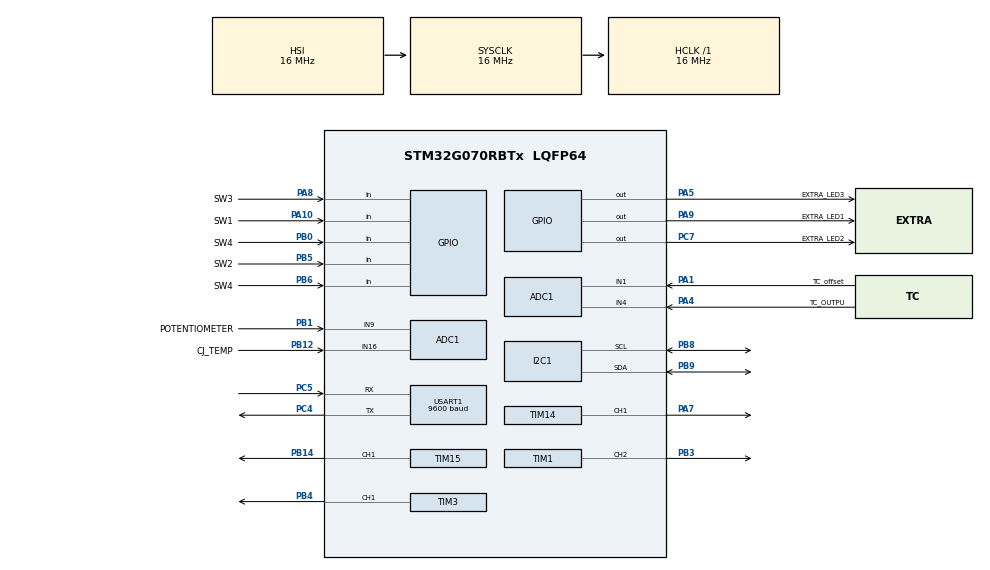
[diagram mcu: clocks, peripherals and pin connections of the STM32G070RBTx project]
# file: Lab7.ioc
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ADC1.DiscontinuousConvMode=ENABLE
ADC1.NbrOfConversion=1
ADC1.NbrOfConversionFlag=0
ADC1.SelectedChannel=ADC_CHANNEL_1|ADC_CHANNEL_4|ADC_CHANNEL_9|ADC_CHANNEL_16
ADC1.Sequencer=NOT_FULLY_CONFIGURABLE
ADC1.master=1
Mcu.Family=STM32G0
Mcu.Name=STM32G070RBTx
Mcu.Package=LQFP64
NVIC.ADC1_IRQn=true\:0\:0\:false\:false\:true\:true\:true
NVIC.USART1_IRQn=true\:0\:0\:false\:false\:true\:true\:true
PA1.GPIO_Label=TC_offset
PA1.Mode=IN1
PA1.Signal=ADC1_IN1
PA10.GPIO_Label=SW1
PA10.Signal=GPIO_Input
PA4.GPIO_Label=TC_OUTPU
PA4.Mode=IN4
PA4.Signal=ADC1_IN4
PA5.GPIO_Label=EXTRA_LED3
PA5.Signal=GPIO_Output
PA7.Signal=S_TIM14_CH1
PA8.GPIO_Label=SW3
PA8.Signal=GPIO_Input
PA9.GPIO_Label=EXTRA_LED1
PA9.Signal=GPIO_Output
PB0.GPIO_Label=SW4
PB0.Signal=GPIO_Input
PB1.GPIO_Label=POTENTIOMETER
PB1.Mode=IN9
PB1.Signal=ADC1_IN9
PB12.GPIO_Label=CJ_TEMP
PB12.Mode=IN16
PB12.Signal=ADC1_IN16
PB14.Signal=S_TIM15_CH1
PB3.Signal=S_TIM1_CH2
PB4.Signal=S_TIM3_CH1
PB5.GPIO_Label=SW2
PB5.Signal=GPIO_Input
PB6.GPIO_Label=SW4
PB6.Signal=GPIO_Input
PB8.Mode=I2C
PB8.Signal=I2C1_SCL
PB9.Mode=I2C
PB9.Signal=I2C1_SDA
PC4.Mode=Asynchronous
PC4.Signal=USART1_TX
PC5.Mode=Asynchronous
PC5.Signal=USART1_RX
PC7.GPIO_Label=EXTRA_LED2
PC7.Signal=GPIO_Output
ProjectManager.HeapSize=0x200
ProjectManager.StackSize=0x400
ProjectManager.TargetToolchain=EWARM V8.32
RCC.AHBFreq_Value=16000000
RCC.CortexFreq_Value=16000000
RCC.EXTERNAL_CLOCK_VALUE=48000
RCC.HCLKFreq_Value=16000000
RCC.HSE_VALUE=8000000
RCC.HSI_VALUE=16000000
RCC.LSE_VALUE=32768
RCC.SYSCLKFreq_VALUE=16000000
RCC.VCOOutputFreq_Value=128000000
SH.S_TIM14_CH1.0=TIM14_CH1,PWM Generation1 CH1
SH.S_TIM15_CH1.0=TIM15_CH1,PWM Generation1 CH1
SH.S_TIM1_CH2.0=TIM1_CH2,PWM Generation2 CH2
SH.S_TIM3_CH1.0=TIM3_CH1,PWM Generation1 CH1
TIM1.Channel-PWM\ Generation2\ CH2=TIM_CHANNEL_2
TIM14.Channel=TIM_CHANNEL_1
TIM15.Channel-PWM\ Generation1\ CH1=TIM_CHANNEL_1
TIM3.Channel-PWM\ Generation1\ CH1=TIM_CHANNEL_1
USART1.BaudRate=9600
USART1.VirtualMode-Asynchronous=VM_ASYNC
VP_SYS_VS_DBSignals.Mode=DisableDeadBatterySignals
VP_TIM14_VS_ClockSourceINT.Mode=Enable_Timer
VP_TIM15_VS_ClockSourceINT.Mode=Internal
VP_TIM1_VS_ClockSourceINT.Mode=Internal
VP_TIM3_VS_ClockSourceINT.Mode=Internal
board=custom

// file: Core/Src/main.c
/* USER CODE BEGIN Header */
/**
  ******************************************************************************
  * @file           : main.c
  * @brief          : Main program body
  ******************************************************************************
  * @attention
  *
  * <h2><center>&copy; Copyright (c) 2021 STMicroelectronics.
  * All rights reserved.</center></h2>
  *
  * This software component is licensed by ST under BSD 3-Clause license,
  * the "License"; You may not use this file except in compliance with the
  * License. You may obtain a copy of the License at:
  *                        opensource.org/licenses/BSD-3-Clause
  *
  ******************************************************************************
  */
/* USER CODE END Header */
#include "main.h"

/* USER CODE BEGIN Includes */
#include "KeyboardHoldRepeat.h"
//#include "waveform_16.h"
#include "serial.h"
#include "serial_user.h"
#include "fonts.h"
#include "ssd1306.h"
#include "ux_manager.h"
#include "thermocouple.h"
#include "thermistor.h"

/* USER CODE END Includes */

ADC_HandleTypeDef hadc1;

I2C_HandleTypeDef hi2c1;

TIM_HandleTypeDef htim1;
TIM_HandleTypeDef htim3;
TIM_HandleTypeDef htim14;
TIM_HandleTypeDef htim15;

UART_HandleTypeDef huart1;

/* USER CODE BEGIN PV */

// scheduler stuff
extern uint8_t ten_mS_Flag;
extern uint8_t twentyfive_mS_Flag;
extern uint8_t hundred_mS_Flag;
extern uint8_t one_S_Flag;

// Button Decoder
uint8_t keyCode = 0x0F;

//ADC Stuff
#define NUMBER_OF_ADC_CHANNELS 4
uint16_t adcResults[NUMBER_OF_ADC_CHANNELS];                                              // The locations for the ADC channels
uint32_t adcChannelNo[NUMBER_OF_ADC_CHANNELS] = {ADC_CHANNEL_9, ADC_CHANNEL_4, ADC_CHANNEL_16, ADC_CHANNEL_1}; // The ADC channel numbers
ADC_ChannelConfTypeDef gAdcConfig = {0};                                                        // The structure for updating the ADC channel number
volatile uint8_t adcChanIndex = 0;                                                                       // State machine variable for reading the ADC (shared with interrupt)

// Thermistor
int16_t thTempInC;

extern DWint16_t Meal_F;

uint32_t timerValue = 0;

//beeper variables
uint8_t beepActive = false;
uint8_t beepDisabled = false;
uint8_t beepTime = 0;

volatile uint16_t adcValue = 0;

uint16_t count2 = 0;

/* USER CODE END PV */

void SystemClock_Config(void);
static void MX_GPIO_Init(void);
static void MX_ADC1_Init(void);
static void MX_TIM1_Init(void);
static void MX_TIM3_Init(void);
static void MX_TIM15_Init(void);
static void MX_I2C1_Init(void);
static void MX_TIM14_Init(void);
static void MX_USART1_UART_Init(void);

int main(void)
{

  /* MCU Configuration--------------------------------------------------------*/

  /* Reset of all peripherals, Initializes the Flash interface and the Systick. */
  HAL_Init();

  /* Configure the system clock */
  SystemClock_Config();

  /* Initialize all configured peripherals */
  MX_GPIO_Init();
  MX_ADC1_Init();
  MX_TIM1_Init();
  MX_TIM3_Init();
  MX_TIM15_Init();
  MX_I2C1_Init();
  MX_TIM14_Init();
  MX_USART1_UART_Init();
  /* USER CODE BEGIN 2 */
  SSD1306_Init();  // initialise
  SSD1306_Clear();
  SwitchScreens(STARTUP_SCREEN);

  HAL_Delay(5000);

  //  Set Up ADC
  gAdcConfig.Channel = ADC_CHANNEL_9;
  gAdcConfig.Rank = ADC_REGULAR_RANK_1;
  gAdcConfig.SamplingTime = ADC_SAMPLINGTIME_COMMON_1;

  SwitchScreens(MAIN);

  HAL_SYSCFG_StrobeDBattpinsConfig(SYSCFG_UCPD1_STROBE);
  /* USER CODE END 2 */

  /* Infinite loop */
  /* USER CODE BEGIN WHILE */
  while (1)
  {
    //---------------------------------
    // 10mS Tasks
    if (ten_mS_Flag) {
      ten_mS_Flag = false;
      keyCode = ScanKeyboard();
      DebounceKeyCode(keyCode);
      if (processKeyCode == true) {
        //ProcessKeyCode(keyCode);
        processKeyCode = false;
        ProcessKeyCodeInContext(keyCode);

      }

    }  // end of 10mS Tasks
    //---------------------------------

    //---------------------------------
    // 25mS Tasks
    if (twentyfive_mS_Flag) {
      twentyfive_mS_Flag = false;

      if (adcChanIndex >= NUMBER_OF_ADC_CHANNELS)
        adcChanIndex = 0;                         // Note, this is incremented in the interrupt after conversion so it is
                                                  // to the correct index when the interrupt fires...
                                                  // Channels: CH1 - CJ; CH4 - TC
      gAdcConfig.Channel = adcChannelNo[adcChanIndex];
      HAL_ADC_ConfigChannel(&hadc1, &gAdcConfig);
      HAL_ADC_Start_IT(&hadc1);

    }  // end of 25mS Tasks
    //---------------------------------

    //---------------------------------
    // 100mS Tasks
    if (hundred_mS_Flag) {
      hundred_mS_Flag = false;

      Meal_F.data = C2F(Calculate_Temp_inC(adcResults[0]), ISNT_IN_TENTHS);

      //Update Screen every 100mS
      UpdateScreenValues();

      if (beepActive) {
          if (++beepTime == 5) {
            HAL_TIM_PWM_Start(&htim14, TIM_CHANNEL_1);
          }
          else if (beepTime >= 10) {
            HAL_TIM_PWM_Stop(&htim14, TIM_CHANNEL_1);
            beepTime = 0;
            if (beepDisabled) {
              beepActive = false;
              beepDisabled = false;
            }
          }
        }
    }  // end of 100mS Tasks
    //---------------------------------

    //---------------------------------
    // 1 Sec Tasks
    if (one_S_Flag) {
      one_S_Flag = false;

    } // end of 1Sec Tasks
    //---------------------------------

    //---------------------------------
    // Every time through the loop

    // end Every time through the loop
    //---------------------------------

    /* USER CODE END WHILE */

  }
}

void SystemClock_Config(void)
{
  RCC_OscInitTypeDef RCC_OscInitStruct = {0};
  RCC_ClkInitTypeDef RCC_ClkInitStruct = {0};
  RCC_PeriphCLKInitTypeDef PeriphClkInit = {0};

  /** Configure the main internal regulator output voltage
  */
  HAL_PWREx_ControlVoltageScaling(PWR_REGULATOR_VOLTAGE_SCALE1);
  /** Initializes the RCC Oscillators according to the specified parameters
  * in the RCC_OscInitTypeDef structure.
  */
  RCC_OscInitStruct.OscillatorType = RCC_OSCILLATORTYPE_HSI;
  RCC_OscInitStruct.HSIState = RCC_HSI_ON;
  RCC_OscInitStruct.HSIDiv = RCC_HSI_DIV1;
  RCC_OscInitStruct.HSICalibrationValue = RCC_HSICALIBRATION_DEFAULT;
  RCC_OscInitStruct.PLL.PLLState = RCC_PLL_NONE;
  if (HAL_RCC_OscConfig(&RCC_OscInitStruct) != HAL_OK)
  {
    Error_Handler();
  }
  /** Initializes the CPU, AHB and APB buses clocks
  */
  RCC_ClkInitStruct.ClockType = RCC_CLOCKTYPE_HCLK|RCC_CLOCKTYPE_SYSCLK
                              |RCC_CLOCKTYPE_PCLK1;
  RCC_ClkInitStruct.SYSCLKSource = RCC_SYSCLKSOURCE_HSI;
  RCC_ClkInitStruct.AHBCLKDivider = RCC_SYSCLK_DIV1;
  RCC_ClkInitStruct.APB1CLKDivider = RCC_HCLK_DIV1;

  if (HAL_RCC_ClockConfig(&RCC_ClkInitStruct, FLASH_LATENCY_0) != HAL_OK)
  {
    Error_Handler();
  }
  /** Initializes the peripherals clocks
  */
  PeriphClkInit.PeriphClockSelection = RCC_PERIPHCLK_USART1|RCC_PERIPHCLK_I2C1
                              |RCC_PERIPHCLK_ADC;
  PeriphClkInit.Usart1ClockSelection = RCC_USART1CLKSOURCE_PCLK1;
  PeriphClkInit.I2c1ClockSelection = RCC_I2C1CLKSOURCE_PCLK1;
  PeriphClkInit.AdcClockSelection = RCC_ADCCLKSOURCE_SYSCLK;
  if (HAL_RCCEx_PeriphCLKConfig(&PeriphClkInit) != HAL_OK)
  {
    Error_Handler();
  }
}

static void MX_ADC1_Init(void)
{

  ADC_ChannelConfTypeDef sConfig = {0};

  /** Configure the global features of the ADC (Clock, Resolution, Data Alignment and number of conversion)
  */
  hadc1.Instance = ADC1;
  hadc1.Init.ClockPrescaler = ADC_CLOCK_SYNC_PCLK_DIV2;
  hadc1.Init.Resolution = ADC_RESOLUTION_12B;
  hadc1.Init.DataAlign = ADC_DATAALIGN_RIGHT;
  hadc1.Init.ScanConvMode = ADC_SCAN_SEQ_FIXED;
  hadc1.Init.EOCSelection = ADC_EOC_SINGLE_CONV;
  hadc1.Init.LowPowerAutoWait = DISABLE;
  hadc1.Init.LowPowerAutoPowerOff = DISABLE;
  hadc1.Init.ContinuousConvMode = DISABLE;
  hadc1.Init.NbrOfConversion = 1;
  hadc1.Init.DiscontinuousConvMode = ENABLE;
  hadc1.Init.ExternalTrigConv = ADC_SOFTWARE_START;
  hadc1.Init.ExternalTrigConvEdge = ADC_EXTERNALTRIGCONVEDGE_NONE;
  hadc1.Init.DMAContinuousRequests = DISABLE;
  hadc1.Init.Overrun = ADC_OVR_DATA_PRESERVED;
  hadc1.Init.SamplingTimeCommon1 = ADC_SAMPLETIME_1CYCLE_5;
  hadc1.Init.OversamplingMode = DISABLE;
  hadc1.Init.TriggerFrequencyMode = ADC_TRIGGER_FREQ_HIGH;
  if (HAL_ADC_Init(&hadc1) != HAL_OK)
  {
    Error_Handler();
  }
  /** Configure Regular Channel
  */
  sConfig.Channel = ADC_CHANNEL_1;
  sConfig.Rank = ADC_RANK_CHANNEL_NUMBER;
  if (HAL_ADC_ConfigChannel(&hadc1, &sConfig) != HAL_OK)
  {
    Error_Handler();
  }
  /** Configure Regular Channel
  */
  sConfig.Channel = ADC_CHANNEL_4;
  if (HAL_ADC_ConfigChannel(&hadc1, &sConfig) != HAL_OK)
  {
    Error_Handler();
  }
  /** Configure Regular Channel
  */
  sConfig.Channel = ADC_CHANNEL_9;
  if (HAL_ADC_ConfigChannel(&hadc1, &sConfig) != HAL_OK)
  {
    Error_Handler();
  }
  /** Configure Regular Channel
  */
  sConfig.Channel = ADC_CHANNEL_16;
  if (HAL_ADC_ConfigChannel(&hadc1, &sConfig) != HAL_OK)
  {
    Error_Handler();
  }

}

static void MX_I2C1_Init(void)
{

  hi2c1.Instance = I2C1;
  hi2c1.Init.Timing = 0x00303D5B;
  hi2c1.Init.OwnAddress1 = 0;
  hi2c1.Init.AddressingMode = I2C_ADDRESSINGMODE_7BIT;
  hi2c1.Init.DualAddressMode = I2C_DUALADDRESS_DISABLE;
  hi2c1.Init.OwnAddress2 = 0;
  hi2c1.Init.OwnAddress2Masks = I2C_OA2_NOMASK;
  hi2c1.Init.GeneralCallMode = I2C_GENERALCALL_DISABLE;
  hi2c1.Init.NoStretchMode = I2C_NOSTRETCH_DISABLE;
  if (HAL_I2C_Init(&hi2c1) != HAL_OK)
  {
    Error_Handler();
  }
  /** Configure Analogue filter
  */
  if (HAL_I2CEx_ConfigAnalogFilter(&hi2c1, I2C_ANALOGFILTER_ENABLE) != HAL_OK)
  {
    Error_Handler();
  }
  /** Configure Digital filter
  */
  if (HAL_I2CEx_ConfigDigitalFilter(&hi2c1, 0) != HAL_OK)
  {
    Error_Handler();
  }

}

static void MX_TIM1_Init(void)
{

  TIM_ClockConfigTypeDef sClockSourceConfig = {0};
  TIM_MasterConfigTypeDef sMasterConfig = {0};
  TIM_OC_InitTypeDef sConfigOC = {0};
  TIM_BreakDeadTimeConfigTypeDef sBreakDeadTimeConfig = {0};

  htim1.Instance = TIM1;
  htim1.Init.Prescaler = 0;
  htim1.Init.CounterMode = TIM_COUNTERMODE_UP;
  htim1.Init.Period = 65535;
  htim1.Init.ClockDivision = TIM_CLOCKDIVISION_DIV1;
  htim1.Init.RepetitionCounter = 0;
  htim1.Init.AutoReloadPreload = TIM_AUTORELOAD_PRELOAD_DISABLE;
  if (HAL_TIM_Base_Init(&htim1) != HAL_OK)
  {
    Error_Handler();
  }
  sClockSourceConfig.ClockSource = TIM_CLOCKSOURCE_INTERNAL;
  if (HAL_TIM_ConfigClockSource(&htim1, &sClockSourceConfig) != HAL_OK)
  {
    Error_Handler();
  }
  if (HAL_TIM_PWM_Init(&htim1) != HAL_OK)
  {
    Error_Handler();
  }
  sMasterConfig.MasterOutputTrigger = TIM_TRGO_RESET;
  sMasterConfig.MasterOutputTrigger2 = TIM_TRGO2_RESET;
  sMasterConfig.MasterSlaveMode = TIM_MASTERSLAVEMODE_DISABLE;
  if (HAL_TIMEx_MasterConfigSynchronization(&htim1, &sMasterConfig) != HAL_OK)
  {
    Error_Handler();
  }
  sConfigOC.OCMode = TIM_OCMODE_PWM1;
  sConfigOC.Pulse = 0;
  sConfigOC.OCPolarity = TIM_OCPOLARITY_HIGH;
  sConfigOC.OCNPolarity = TIM_OCNPOLARITY_HIGH;
  sConfigOC.OCFastMode = TIM_OCFAST_DISABLE;
  sConfigOC.OCIdleState = TIM_OCIDLESTATE_RESET;
  sConfigOC.OCNIdleState = TIM_OCNIDLESTATE_RESET;
  if (HAL_TIM_PWM_ConfigChannel(&htim1, &sConfigOC, TIM_CHANNEL_2) != HAL_OK)
  {
    Error_Handler();
  }
  sBreakDeadTimeConfig.OffStateRunMode = TIM_OSSR_DISABLE;
  sBreakDeadTimeConfig.OffStateIDLEMode = TIM_OSSI_DISABLE;
  sBreakDeadTimeConfig.LockLevel = TIM_LOCKLEVEL_OFF;
  sBreakDeadTimeConfig.DeadTime = 0;
  sBreakDeadTimeConfig.BreakState = TIM_BREAK_DISABLE;
  sBreakDeadTimeConfig.BreakPolarity = TIM_BREAKPOLARITY_HIGH;
  sBreakDeadTimeConfig.BreakFilter = 0;
  sBreakDeadTimeConfig.BreakAFMode = TIM_BREAK_AFMODE_INPUT;
  sBreakDeadTimeConfig.Break2State = TIM_BREAK2_DISABLE;
  sBreakDeadTimeConfig.Break2Polarity = TIM_BREAK2POLARITY_HIGH;
  sBreakDeadTimeConfig.Break2Filter = 0;
  sBreakDeadTimeConfig.Break2AFMode = TIM_BREAK_AFMODE_INPUT;
  sBreakDeadTimeConfig.AutomaticOutput = TIM_AUTOMATICOUTPUT_DISABLE;
  if (HAL_TIMEx_ConfigBreakDeadTime(&htim1, &sBreakDeadTimeConfig) != HAL_OK)
  {
    Error_Handler();
  }
  HAL_TIM_MspPostInit(&htim1);

}

static void MX_TIM3_Init(void)
{

  TIM_ClockConfigTypeDef sClockSourceConfig = {0};
  TIM_MasterConfigTypeDef sMasterConfig = {0};
  TIM_OC_InitTypeDef sConfigOC = {0};

  htim3.Instance = TIM3;
  htim3.Init.Prescaler = 0;
  htim3.Init.CounterMode = TIM_COUNTERMODE_UP;
  htim3.Init.Period = 65535;
  htim3.Init.ClockDivision = TIM_CLOCKDIVISION_DIV1;
  htim3.Init.AutoReloadPreload = TIM_AUTORELOAD_PRELOAD_DISABLE;
  if (HAL_TIM_Base_Init(&htim3) != HAL_OK)
  {
    Error_Handler();
  }
  sClockSourceConfig.ClockSource = TIM_CLOCKSOURCE_INTERNAL;
  if (HAL_TIM_ConfigClockSource(&htim3, &sClockSourceConfig) != HAL_OK)
  {
    Error_Handler();
  }
  if (HAL_TIM_PWM_Init(&htim3) != HAL_OK)
  {
    Error_Handler();
  }
  sMasterConfig.MasterOutputTrigger = TIM_TRGO_RESET;
  sMasterConfig.MasterSlaveMode = TIM_MASTERSLAVEMODE_DISABLE;
  if (HAL_TIMEx_MasterConfigSynchronization(&htim3, &sMasterConfig) != HAL_OK)
  {
    Error_Handler();
  }
  sConfigOC.OCMode = TIM_OCMODE_PWM1;
  sConfigOC.Pulse = 0;
  sConfigOC.OCPolarity = TIM_OCPOLARITY_HIGH;
  sConfigOC.OCFastMode = TIM_OCFAST_DISABLE;
  if (HAL_TIM_PWM_ConfigChannel(&htim3, &sConfigOC, TIM_CHANNEL_1) != HAL_OK)
  {
    Error_Handler();
  }
  HAL_TIM_MspPostInit(&htim3);

}

static void MX_TIM14_Init(void)
{

  TIM_OC_InitTypeDef sConfigOC = {0};

  htim14.Instance = TIM14;
  htim14.Init.Prescaler = 0;
  htim14.Init.CounterMode = TIM_COUNTERMODE_UP;
  htim14.Init.Period = 65535;
  htim14.Init.ClockDivision = TIM_CLOCKDIVISION_DIV1;
  htim14.Init.AutoReloadPreload = TIM_AUTORELOAD_PRELOAD_DISABLE;
  if (HAL_TIM_Base_Init(&htim14) != HAL_OK)
  {
    Error_Handler();
  }
  if (HAL_TIM_PWM_Init(&htim14) != HAL_OK)
  {
    Error_Handler();
  }
  sConfigOC.OCMode = TIM_OCMODE_PWM1;
  sConfigOC.Pulse = 0;
  sConfigOC.OCPolarity = TIM_OCPOLARITY_HIGH;
  sConfigOC.OCFastMode = TIM_OCFAST_DISABLE;
  if (HAL_TIM_PWM_ConfigChannel(&htim14, &sConfigOC, TIM_CHANNEL_1) != HAL_OK)
  {
    Error_Handler();
  }
  HAL_TIM_MspPostInit(&htim14);

}

static void MX_TIM15_Init(void)
{

  TIM_ClockConfigTypeDef sClockSourceConfig = {0};
  TIM_MasterConfigTypeDef sMasterConfig = {0};
  TIM_OC_InitTypeDef sConfigOC = {0};
  TIM_BreakDeadTimeConfigTypeDef sBreakDeadTimeConfig = {0};

  htim15.Instance = TIM15;
  htim15.Init.Prescaler = 0;
  htim15.Init.CounterMode = TIM_COUNTERMODE_UP;
  htim15.Init.Period = 65535;
  htim15.Init.ClockDivision = TIM_CLOCKDIVISION_DIV1;
  htim15.Init.RepetitionCounter = 0;
  htim15.Init.AutoReloadPreload = TIM_AUTORELOAD_PRELOAD_DISABLE;
  if (HAL_TIM_Base_Init(&htim15) != HAL_OK)
  {
    Error_Handler();
  }
  sClockSourceConfig.ClockSource = TIM_CLOCKSOURCE_INTERNAL;
  if (HAL_TIM_ConfigClockSource(&htim15, &sClockSourceConfig) != HAL_OK)
  {
    Error_Handler();
  }
  if (HAL_TIM_PWM_Init(&htim15) != HAL_OK)
  {
    Error_Handler();
  }
  sMasterConfig.MasterOutputTrigger = TIM_TRGO_RESET;
  sMasterConfig.MasterSlaveMode = TIM_MASTERSLAVEMODE_DISABLE;
  if (HAL_TIMEx_MasterConfigSynchronization(&htim15, &sMasterConfig) != HAL_OK)
  {
    Error_Handler();
  }
  sConfigOC.OCMode = TIM_OCMODE_PWM1;
  sConfigOC.Pulse = 0;
  sConfigOC.OCPolarity = TIM_OCPOLARITY_HIGH;
  sConfigOC.OCNPolarity = TIM_OCNPOLARITY_HIGH;
  sConfigOC.OCFastMode = TIM_OCFAST_DISABLE;
  sConfigOC.OCIdleState = TIM_OCIDLESTATE_RESET;
  sConfigOC.OCNIdleState = TIM_OCNIDLESTATE_RESET;
  if (HAL_TIM_PWM_ConfigChannel(&htim15, &sConfigOC, TIM_CHANNEL_1) != HAL_OK)
  {
    Error_Handler();
  }
  sBreakDeadTimeConfig.OffStateRunMode = TIM_OSSR_DISABLE;
  sBreakDeadTimeConfig.OffStateIDLEMode = TIM_OSSI_DISABLE;
  sBreakDeadTimeConfig.LockLevel = TIM_LOCKLEVEL_OFF;
  sBreakDeadTimeConfig.DeadTime = 0;
  sBreakDeadTimeConfig.BreakState = TIM_BREAK_DISABLE;
  sBreakDeadTimeConfig.BreakPolarity = TIM_BREAKPOLARITY_HIGH;
  sBreakDeadTimeConfig.BreakFilter = 0;
  sBreakDeadTimeConfig.AutomaticOutput = TIM_AUTOMATICOUTPUT_DISABLE;
  if (HAL_TIMEx_ConfigBreakDeadTime(&htim15, &sBreakDeadTimeConfig) != HAL_OK)
  {
    Error_Handler();
  }
  HAL_TIM_MspPostInit(&htim15);

}

static void MX_USART1_UART_Init(void)
{

  huart1.Instance = USART1;
  huart1.Init.BaudRate = 9600;
  huart1.Init.WordLength = UART_WORDLENGTH_8B;
  huart1.Init.StopBits = UART_STOPBITS_1;
  huart1.Init.Parity = UART_PARITY_NONE;
  huart1.Init.Mode = UART_MODE_TX_RX;
  huart1.Init.HwFlowCtl = UART_HWCONTROL_NONE;
  huart1.Init.OverSampling = UART_OVERSAMPLING_16;
  huart1.Init.OneBitSampling = UART_ONE_BIT_SAMPLE_DISABLE;
  huart1.Init.ClockPrescaler = UART_PRESCALER_DIV1;
  huart1.AdvancedInit.AdvFeatureInit = UART_ADVFEATURE_NO_INIT;
  if (HAL_UART_Init(&huart1) != HAL_OK)
  {
    Error_Handler();
  }
  if (HAL_UARTEx_SetTxFifoThreshold(&huart1, UART_TXFIFO_THRESHOLD_1_8) != HAL_OK)
  {
    Error_Handler();
  }
  if (HAL_UARTEx_SetRxFifoThreshold(&huart1, UART_RXFIFO_THRESHOLD_1_8) != HAL_OK)
  {
    Error_Handler();
  }
  if (HAL_UARTEx_DisableFifoMode(&huart1) != HAL_OK)
  {
    Error_Handler();
  }

}

static void MX_GPIO_Init(void)
{
  GPIO_InitTypeDef GPIO_InitStruct = {0};

  /* GPIO Ports Clock Enable */
  __HAL_RCC_GPIOA_CLK_ENABLE();
  __HAL_RCC_GPIOC_CLK_ENABLE();
  __HAL_RCC_GPIOB_CLK_ENABLE();

  /*Configure GPIO pin Output Level */
  HAL_GPIO_WritePin(GPIOA, EXTRA_LED3_Pin|EXTRA_LED1_Pin, GPIO_PIN_RESET);

  /*Configure GPIO pin Output Level */
  HAL_GPIO_WritePin(EXTRA_LED2_GPIO_Port, EXTRA_LED2_Pin, GPIO_PIN_RESET);

  /*Configure GPIO pins : EXTRA_LED3_Pin EXTRA_LED1_Pin */
  GPIO_InitStruct.Pin = EXTRA_LED3_Pin|EXTRA_LED1_Pin;
  GPIO_InitStruct.Mode = GPIO_MODE_OUTPUT_PP;
  GPIO_InitStruct.Pull = GPIO_NOPULL;
  GPIO_InitStruct.Speed = GPIO_SPEED_FREQ_LOW;
  HAL_GPIO_Init(GPIOA, &GPIO_InitStruct);

  /*Configure GPIO pins : SW4_Pin SW2_Pin SW4B6_Pin */
  GPIO_InitStruct.Pin = SW4_Pin|SW2_Pin|SW4B6_Pin;
  GPIO_InitStruct.Mode = GPIO_MODE_INPUT;
  GPIO_InitStruct.Pull = GPIO_NOPULL;
  HAL_GPIO_Init(GPIOB, &GPIO_InitStruct);

  /*Configure GPIO pins : SW3_Pin SW1_Pin */
  GPIO_InitStruct.Pin = SW3_Pin|SW1_Pin;
  GPIO_InitStruct.Mode = GPIO_MODE_INPUT;
  GPIO_InitStruct.Pull = GPIO_NOPULL;
  HAL_GPIO_Init(GPIOA, &GPIO_InitStruct);

  /*Configure GPIO pin : EXTRA_LED2_Pin */
  GPIO_InitStruct.Pin = EXTRA_LED2_Pin;
  GPIO_InitStruct.Mode = GPIO_MODE_OUTPUT_PP;
  GPIO_InitStruct.Pull = GPIO_NOPULL;
  GPIO_InitStruct.Speed = GPIO_SPEED_FREQ_LOW;
  HAL_GPIO_Init(EXTRA_LED2_GPIO_Port, &GPIO_InitStruct);

}

void Error_Handler(void)
{
  __disable_irq();
  while (1)
  {
  }
}

/************************ (C) COPYRIGHT STMicroelectronics *****END OF FILE****/
